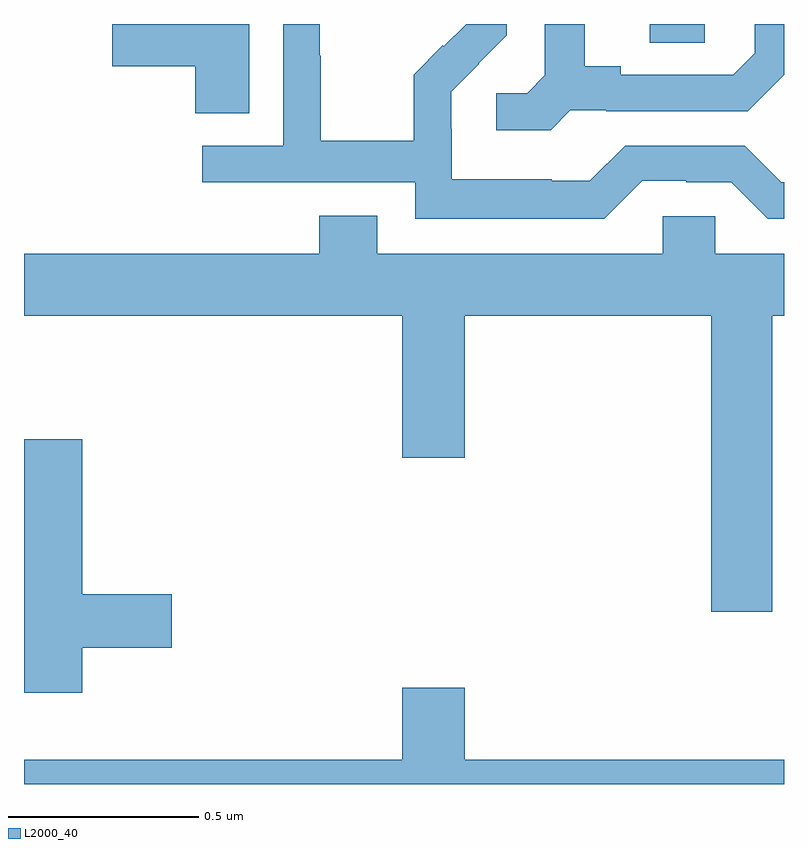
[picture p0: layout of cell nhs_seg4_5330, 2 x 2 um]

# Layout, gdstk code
import gdstk
lib = gdstk.Library(unit=1e-6, precision=1e-09)
def R(c, l, rs):  # rectangles x0, y0, x1, y1
    for r in rs: c.add(gdstk.rectangle(r[:2], r[2:], *l))
def P(c, l, *ps):  # polygons
    for p in ps: c.add(gdstk.Polygon(p, *l))
L2000_40 = (2000, 40)

nhs_seg4_5330 = lib.new_cell('nhs_seg4_5330')
R(nhs_seg4_5330, L2000_40, [(177.647,818.851,177.792,818.9)])
P(nhs_seg4_5330, L2000_40, [(177.438,818.673),(177.532,818.673),(177.532,818.67),(177.904,818.67),(178,818.766),(178,818.9),(177.923,818.9),(177.923,818.823),(177.866,818.766),(177.571,818.766),(177.571,818.789),(177.475,818.789),(177.475,818.9),(177.371,818.9),(177.371,818.765),(177.324,818.718),(177.243,818.718),(177.243,818.621),(177.386,818.621)],
  [(177.627,818.487),(177.743,818.487),(177.743,818.484),(177.861,818.484),(177.957,818.388),(178,818.388),(178,818.484),(177.993,818.484),(177.897,818.58),(177.582,818.58),(177.489,818.487),(177.389,818.487),(177.389,818.491),(177.126,818.491),(177.126,818.625),(177.124,818.625),(177.124,818.722),(177.198,818.796),(177.197,818.797),(177.27,818.87),(177.27,818.9),(177.164,818.9),(177.105,818.841),(177.102,818.844),(177.025,818.767),(177.025,818.593),(176.781,818.593),(176.781,818.816),(176.778,818.816),(176.778,818.9),(176.682,818.9),(176.682,818.58),(176.469,818.58),(176.469,818.484),(177.03,818.484),(177.03,818.387),(177.527,818.387)],
  [(176.593,818.9),(176.232,818.9),(176.232,818.789),(176.45,818.789),(176.45,818.665),(176.593,818.665)],
  [(177.969,818.132),(178,818.132),(178,818.296),(177.819,818.296),(177.819,818.394),(177.681,818.394),(177.681,818.296),(176.929,818.296),(176.929,818.395),(176.777,818.395),(176.777,818.296),(176,818.296),(176,818.132),(176.996,818.132),(176.996,817.758),(177.16,817.758),(177.16,818.132),(177.809,818.132),(177.809,817.353),(177.969,817.353)],
  [(176.153,817.258),(176.389,817.258),(176.389,817.4),(176.153,817.4),(176.153,817.807),(176,817.807),(176,817.14),(176.153,817.14)],
  [(178,816.964),(177.16,816.964),(177.16,817.153),(176.996,817.153),(176.996,816.964),(176,816.964),(176,816.9),(178,816.9)])

lib.write_gds('nhs_seg4_5330.gds')
